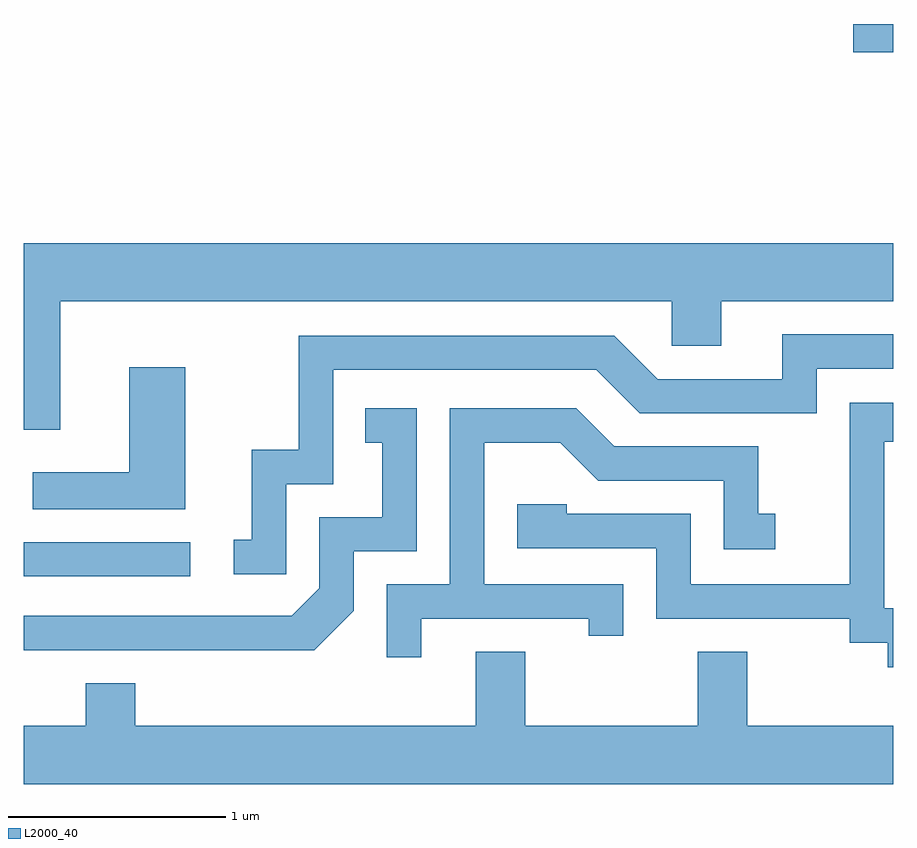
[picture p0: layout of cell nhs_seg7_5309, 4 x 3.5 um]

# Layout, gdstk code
import gdstk
lib = gdstk.Library(unit=1e-6, precision=1e-09)
def R(c, l, rs):  # rectangles x0, y0, x1, y1
    for r in rs: c.add(gdstk.rectangle(r[:2], r[2:], *l))
def P(c, l, *ps):  # polygons
    for p in ps: c.add(gdstk.Polygon(p, *l))
L2000_40 = (2000, 40)

nhs_seg7_5309 = lib.new_cell('nhs_seg7_5309')
R(nhs_seg7_5309, L2000_40, [(347.611,1719.711,348.378,1719.869), (351.426,1722.121,351.611,1722.252)])
P(nhs_seg7_5309, L2000_40, [(347.779,1720.976),(350.591,1720.976),(350.591,1720.771),(350.819,1720.771),(350.819,1720.976),(351.611,1720.976),(351.611,1721.244),(347.611,1721.244),(347.611,1720.386),(347.779,1720.386)],
  [(348.819,1720.136),(349.034,1720.136),(349.034,1720.661),(350.244,1720.661),(350.444,1720.461),(351.259,1720.461),(351.259,1720.666),(351.611,1720.666),(351.611,1720.824),(351.101,1720.824),(351.101,1720.619),(350.527,1720.619),(350.327,1720.819),(348.876,1720.819),(348.876,1720.294),(348.661,1720.294),(348.661,1719.879),(348.578,1719.879),(348.578,1719.721),(348.819,1719.721)],
  [(348.354,1720.674),(348.096,1720.674),(348.096,1720.189),(347.653,1720.189),(347.653,1720.021),(348.354,1720.021)],
  [(351.611,1719.564),(351.569,1719.564),(351.569,1720.331),(351.611,1720.331),(351.611,1720.509),(351.411,1720.509),(351.411,1719.674),(350.679,1719.674),(350.679,1719.999),(350.109,1719.999),(350.109,1720.044),(349.881,1720.044),(349.881,1719.841),(350.521,1719.841),(350.521,1719.516),(351.411,1719.516),(351.411,1719.406),(351.586,1719.406),(351.586,1719.293),(351.611,1719.293)],
  [(349.129,1719.554),(349.129,1719.826),(349.419,1719.826),(349.419,1720.484),(349.183,1720.484),(349.183,1720.326),(349.261,1720.326),(349.261,1719.984),(348.971,1719.984),(348.971,1719.657),(348.844,1719.529),(347.611,1719.529),(347.611,1719.371),(348.947,1719.371)],
  [(349.439,1719.516),(350.211,1719.516),(350.211,1719.438),(350.369,1719.438),(350.369,1719.674),(349.729,1719.674),(349.729,1720.326),(350.079,1720.326),(350.254,1720.151),(350.831,1720.151),(350.831,1719.836),(351.068,1719.836),(351.068,1719.999),(350.989,1719.999),(350.989,1720.309),(350.327,1720.309),(350.152,1720.484),(349.571,1720.484),(349.571,1719.674),(349.281,1719.674),(349.281,1719.338),(349.439,1719.338)],
  [(351.611,1719.024),(350.939,1719.024),(350.939,1719.364),(350.711,1719.364),(350.711,1719.024),(349.919,1719.024),(349.919,1719.364),(349.691,1719.364),(349.691,1719.024),(348.124,1719.024),(348.124,1719.219),(347.896,1719.219),(347.896,1719.024),(347.611,1719.024),(347.611,1718.756),(351.611,1718.756)])

lib.write_gds('nhs_seg7_5309.gds')
